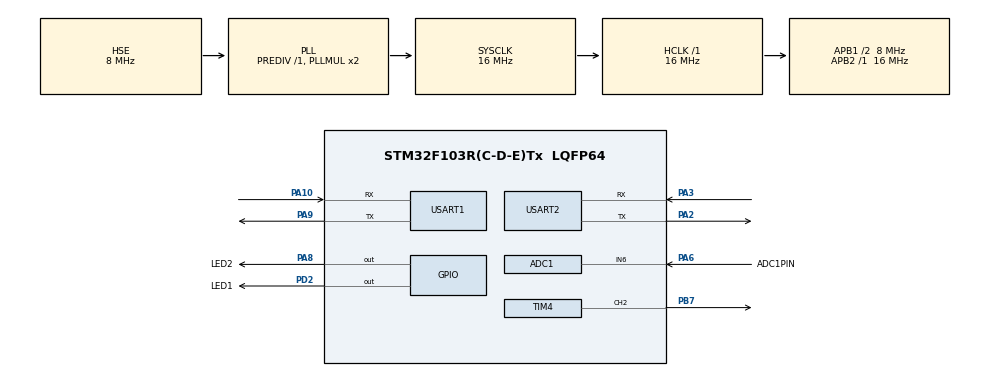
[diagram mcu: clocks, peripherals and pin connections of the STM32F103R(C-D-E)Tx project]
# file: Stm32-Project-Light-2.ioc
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ADC1.Channel-0\#ChannelRegularConversion=ADC_CHANNEL_6
ADC1.NbrOfConversionFlag=1
ADC1.Rank-0\#ChannelRegularConversion=1
ADC1.SamplingTime-0\#ChannelRegularConversion=ADC_SAMPLETIME_1CYCLE_5
ADC1.master=1
Dma.Request0=USART2_RX
Dma.USART2_RX.0.Direction=DMA_PERIPH_TO_MEMORY
Dma.USART2_RX.0.Instance=DMA1_Channel6
Dma.USART2_RX.0.MemDataAlignment=DMA_MDATAALIGN_BYTE
Dma.USART2_RX.0.MemInc=DMA_MINC_ENABLE
Dma.USART2_RX.0.Mode=DMA_NORMAL
Dma.USART2_RX.0.PeriphDataAlignment=DMA_PDATAALIGN_BYTE
Dma.USART2_RX.0.PeriphInc=DMA_PINC_DISABLE
Dma.USART2_RX.0.Priority=DMA_PRIORITY_LOW
Mcu.Family=STM32F1
Mcu.Name=STM32F103R(C-D-E)Tx
Mcu.Package=LQFP64
NVIC.DMA1_Channel6_IRQn=true\:0\:0\:false\:false\:true\:false\:true\:true
NVIC.PriorityGroup=NVIC_PRIORITYGROUP_4
NVIC.USART2_IRQn=true\:0\:0\:false\:false\:true\:true\:true\:true
PA10.Mode=Asynchronous
PA10.Signal=USART1_RX
PA13.Mode=Serial_Wire
PA13.Signal=SYS_JTMS-SWDIO
PA14.Mode=Serial_Wire
PA14.Signal=SYS_JTCK-SWCLK
PA2.Mode=Asynchronous
PA2.Signal=USART2_TX
PA3.Mode=Asynchronous
PA3.Signal=USART2_RX
PA6.GPIO_Label=ADC1PIN
PA6.Signal=ADCx_IN6
PA8.GPIO_Label=LED2
PA8.GPIO_PuPd=GPIO_PULLUP
PA8.GPIO_Speed=GPIO_SPEED_FREQ_HIGH
PA8.PinState=GPIO_PIN_SET
PA8.Signal=GPIO_Output
PA9.Mode=Asynchronous
PA9.Signal=USART1_TX
PB7.Signal=S_TIM4_CH2
PD0-OSC_IN.Mode=HSE-External-Oscillator
PD0-OSC_IN.Signal=RCC_OSC_IN
PD1-OSC_OUT.Mode=HSE-External-Oscillator
PD1-OSC_OUT.Signal=RCC_OSC_OUT
PD2.GPIO_Label=LED1
PD2.GPIO_PuPd=GPIO_PULLUP
PD2.GPIO_Speed=GPIO_SPEED_FREQ_HIGH
PD2.PinState=GPIO_PIN_SET
PD2.Signal=GPIO_Output
ProjectManager.HeapSize=0x200
ProjectManager.StackSize=0x400
ProjectManager.TargetToolchain=MDK-ARM V5.32
RCC.ADCPresc=RCC_ADCPCLK2_DIV8
RCC.AHBFreq_Value=16000000
RCC.APB1CLKDivider=RCC_HCLK_DIV2
RCC.APB1Freq_Value=8000000
RCC.APB1TimFreq_Value=16000000
RCC.APB2Freq_Value=16000000
RCC.APB2TimFreq_Value=16000000
RCC.HCLKFreq_Value=16000000
RCC.PLLSourceVirtual=RCC_PLLSOURCE_HSE
RCC.SYSCLKFreq_VALUE=16000000
RCC.SYSCLKSource=RCC_SYSCLKSOURCE_PLLCLK
RCC.USBFreq_Value=16000000
SH.ADCx_IN6.0=ADC1_IN6,IN6
SH.S_TIM4_CH2.0=TIM4_CH2,PWM Generation2 CH2
TIM4.AutoReloadPreload=TIM_AUTORELOAD_PRELOAD_ENABLE
TIM4.Channel-PWM\ Generation2\ CH2=TIM_CHANNEL_2
TIM4.OCPolarity_2=TIM_OCPOLARITY_LOW
TIM4.Period=999
TIM4.Prescaler=71
USART1.VirtualMode=VM_ASYNC
USART2.VirtualMode=VM_ASYNC
VP_TIM4_VS_ClockSourceINT.Mode=Internal
board=custom

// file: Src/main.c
/* USER CODE BEGIN Header */
/**
  ******************************************************************************
  * @file           : main.c
  * @brief          : Main program body
  ******************************************************************************
  * @attention
  *
  * Copyright (c) 2023 STMicroelectronics.
  * All rights reserved.
  *
  * This software is licensed under terms that can be found in the LICENSE file
  * in the root directory of this software component.
  * If no LICENSE file comes with this software, it is provided AS-IS.
  *
  ******************************************************************************
  */
/* USER CODE END Header */
#include "main.h"
#include "adc.h"
#include "dma.h"
#include "tim.h"
#include "usart.h"
#include "gpio.h"

/* USER CODE BEGIN Includes */
#include "stdio.h"
#include "string.h"
#include "cJSON.h"

/* USER CODE END Includes */

/* USER CODE BEGIN PV */
uint16_t ADC1Val=1000;//假设为1000
uint16_t PWMVal=0;
uint16_t X=1000;//个人的舒适值//后通过串口发送数据

char ss[1000]="";
char IDstr[20]="222154101127";
/* USER CODE END PV */

void SystemClock_Config(void);

/* USER CODE BEGIN 0 */
int fputc(int ch,FILE *f)
{
	HAL_UART_Transmit(&huart1,(uint8_t *) &ch,1,0xfff);
	return ch;
}

/*{
	"Id":	"222154101127",
	"Devices":	{
		"ADC1 Reading":"",
		"PA6 True Voltage value":"",
		"PWMVal":""
	}
}*/

int buildJsonData(char *ss)//构建数据格式
{
	char *cjson_print_buf;
	int len=0;
	cJSON *reported_obj;
	cJSON *device_obj;

	reported_obj=cJSON_CreateObject();
	device_obj=cJSON_CreateObject();

	cJSON_AddStringToObject(device_obj,"ID",IDstr);
	cJSON_AddNumberToObject(reported_obj,"ADC1 Reading",ADC1Val);

	cJSON_AddNumberToObject(reported_obj,"PA6 True Voltage value",ADC1Val*3.3f/4096);

	cJSON_AddNumberToObject(reported_obj,"PWMVal",PWMVal);
	cJSON_AddItemToObject(device_obj,"Devices",reported_obj);

	cjson_print_buf=cJSON_Print(device_obj);
	if(cjson_print_buf!=NULL)
	{
		len=snprintf(ss,2000,"%s",cjson_print_buf);
		cJSON_free(cjson_print_buf);
	}
	cJSON_Delete(device_obj);

	return len;
}

void LightCalculate()//计算光强
{
		HAL_ADC_Start(&hadc1);	//Start ADC
		HAL_ADC_PollForConversion(&hadc1,50);//轮询方式，超时50ms等待转化完成
		if(HAL_IS_BIT_SET(HAL_ADC_GetState(&hadc1),HAL_ADC_STATE_REG_EOC))//判断是否转化成功
		{
			ADC1Val = HAL_ADC_GetValue(&hadc1);//读出数据
//			printf("ADC1 Reading ：%d \r\n",ADC1Val);
//			printf("PA6 True Voltage value ：%.4f \r\n",ADC1Val*3.3f/4096);
		}
		if(ADC1Val>X)//X越大，亮度越暗
		{
			PWMVal=(ADC1Val-X)*1000/(4096-X);//假设数学模型为直线变化
		}
		else
			PWMVal = 0;
//		printf("PWMVal = %d \r\n",PWMVal);
		__HAL_TIM_SET_COMPARE(&htim4,TIM_CHANNEL_2,PWMVal);//释放交流电
}

/* USER CODE END 0 */

int main(void)
{

  /* MCU Configuration--------------------------------------------------------*/

  /* Reset of all peripherals, Initializes the Flash interface and the Systick. */
  HAL_Init();

  /* Configure the system clock */
  SystemClock_Config();

  /* Initialize all configured peripherals */
  MX_GPIO_Init();
  MX_DMA_Init();
  MX_ADC1_Init();
  MX_TIM4_Init();
  MX_USART1_UART_Init();
  MX_USART2_UART_Init();
  /* USER CODE BEGIN 2 */
	HAL_ADCEx_Calibration_Start(&hadc1);//打开ADC1，进行数模转化
	HAL_TIM_PWM_Start(&htim4,TIM_CHANNEL_2);//打开定时器4，pwm方式
	HAL_UARTEx_ReceiveToIdle_DMA(&huart2,Uart2_rx_buffer,BUF_SIZE);//haurt2
  /* USER CODE END 2 */

  /* Infinite loop */
  /* USER CODE BEGIN WHILE */
  while (1)
  {
		HAL_Delay(1000);
		LightCalculate();

		buildJsonData(ss);
		HAL_UART_Transmit(&huart2,(uint8_t *)ss,strlen(ss),0xffff);	//将接收到的数据再发回上位机
		HAL_UART_Transmit(&huart1,(uint8_t *)ss,strlen(ss),0xffff);
		memset(ss,0,1000);//清空数据
    /* USER CODE END WHILE */

  }
}

void SystemClock_Config(void)
{
  RCC_OscInitTypeDef RCC_OscInitStruct = {0};
  RCC_ClkInitTypeDef RCC_ClkInitStruct = {0};
  RCC_PeriphCLKInitTypeDef PeriphClkInit = {0};

  /** Initializes the RCC Oscillators according to the specified parameters
  * in the RCC_OscInitTypeDef structure.
  */
  RCC_OscInitStruct.OscillatorType = RCC_OSCILLATORTYPE_HSE;
  RCC_OscInitStruct.HSEState = RCC_HSE_ON;
  RCC_OscInitStruct.HSEPredivValue = RCC_HSE_PREDIV_DIV1;
  RCC_OscInitStruct.HSIState = RCC_HSI_ON;
  RCC_OscInitStruct.PLL.PLLState = RCC_PLL_ON;
  RCC_OscInitStruct.PLL.PLLSource = RCC_PLLSOURCE_HSE;
  RCC_OscInitStruct.PLL.PLLMUL = RCC_PLL_MUL2;
  if (HAL_RCC_OscConfig(&RCC_OscInitStruct) != HAL_OK)
  {
    Error_Handler();
  }

  /** Initializes the CPU, AHB and APB buses clocks
  */
  RCC_ClkInitStruct.ClockType = RCC_CLOCKTYPE_HCLK|RCC_CLOCKTYPE_SYSCLK
                              |RCC_CLOCKTYPE_PCLK1|RCC_CLOCKTYPE_PCLK2;
  RCC_ClkInitStruct.SYSCLKSource = RCC_SYSCLKSOURCE_PLLCLK;
  RCC_ClkInitStruct.AHBCLKDivider = RCC_SYSCLK_DIV1;
  RCC_ClkInitStruct.APB1CLKDivider = RCC_HCLK_DIV2;
  RCC_ClkInitStruct.APB2CLKDivider = RCC_HCLK_DIV1;

  if (HAL_RCC_ClockConfig(&RCC_ClkInitStruct, FLASH_LATENCY_0) != HAL_OK)
  {
    Error_Handler();
  }
  PeriphClkInit.PeriphClockSelection = RCC_PERIPHCLK_ADC;
  PeriphClkInit.AdcClockSelection = RCC_ADCPCLK2_DIV8;
  if (HAL_RCCEx_PeriphCLKConfig(&PeriphClkInit) != HAL_OK)
  {
    Error_Handler();
  }
}

void Error_Handler(void)
{
  __disable_irq();
  while (1)
  {
  }
}
